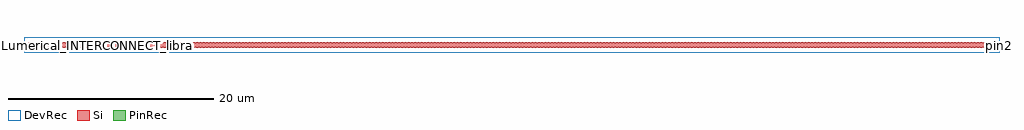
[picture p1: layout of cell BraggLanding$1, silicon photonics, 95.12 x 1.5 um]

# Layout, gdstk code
import gdstk
lib = gdstk.Library(unit=1e-6, precision=1e-09)
def R(c, l, rs):  # rectangles x0, y0, x1, y1
    for r in rs: c.add(gdstk.rectangle(r[:2], r[2:], *l))
def A(c, l, x, y, w, h, nx, ny, dx, dy):  # array of equal rectangles
    R(c, l, [(x+i*dx, y+j*dy, x+i*dx+w, y+j*dy+h) for i in range(nx) for j in range(ny)])
Si = (1, 0)
PinRec = (1, 10)
DevRec = (68, 0)

bragglanding_1 = lib.new_cell('BraggLanding$1')
A(bragglanding_1, Si, 0, -0.275, 0.158, 0.275, 300, 2, 0.317, 0.275)
A(bragglanding_1, Si, 0.158, -0.225, 0.159, 0.225, 300, 2, 0.317, 0.225)
R(bragglanding_1, Si, [(95.09,-0.25,95.1,0.25)])
R(bragglanding_1, DevRec, [(0,-0.75,95.1,0.75)])
bragglanding_1.add(gdstk.FlexPath([(0.01,0),(-0.01,0)], 0.5, ends="flush", simple_path=True, layer=1, datatype=10))  # PinRec
bragglanding_1.add(gdstk.FlexPath([(95.09,0),(95.11,0)], 0.5, ends="flush", simple_path=True, layer=1, datatype=10))  # PinRec
bragglanding_1.add(gdstk.Label('Lumerical_INTERCONNECT_library=Design kits/ebeam', (0,0), layer=68, texttype=0))
bragglanding_1.add(gdstk.Label('Component=ebeam_bragg_te1550', (9.51,0), layer=68, texttype=0))
bragglanding_1.add(gdstk.Label('Spice_param:number_of_periods=300 grating_period=3.17e-07 corrugation_width=5e-08 misalignment=0 sinusoidal=0', (10.566,0), layer=68, texttype=0))
bragglanding_1.add(gdstk.Label('pin1', (0,0), layer=1, texttype=10))
bragglanding_1.add(gdstk.Label('pin2', (95.1,0), layer=1, texttype=10))

lib.write_gds('BraggLanding_1.gds')
